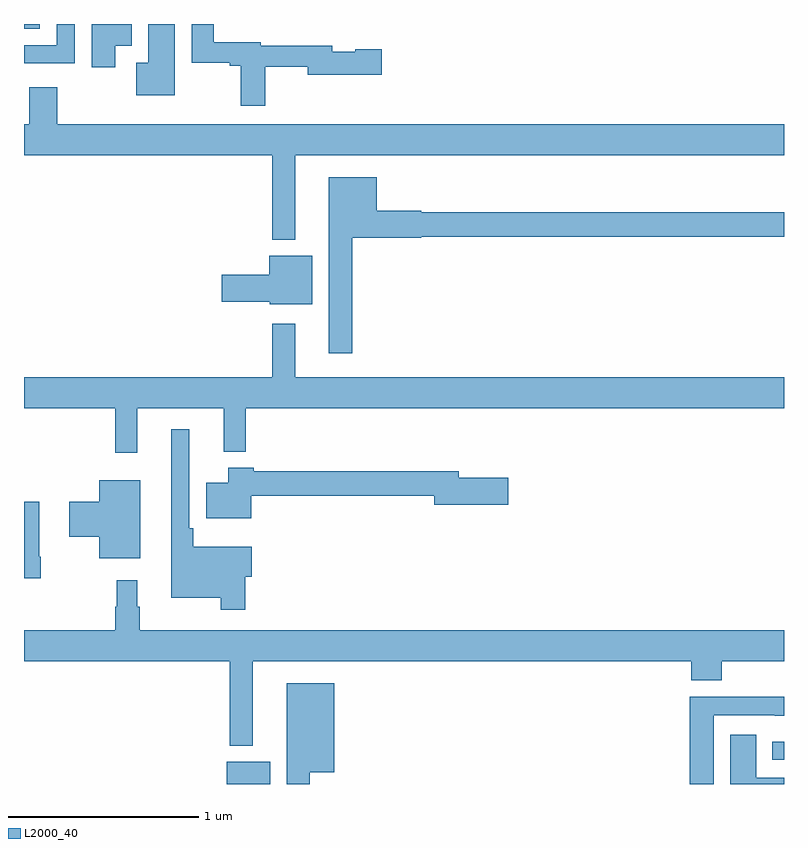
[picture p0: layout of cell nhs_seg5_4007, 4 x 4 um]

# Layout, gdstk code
import gdstk
lib = gdstk.Library(unit=1e-6, precision=1e-09)
def R(c, l, rs):  # rectangles x0, y0, x1, y1
    for r in rs: c.add(gdstk.rectangle(r[:2], r[2:], *l))
def P(c, l, *ps):  # polygons
    for p in ps: c.add(gdstk.Polygon(p, *l))
L2000_40 = (2000, 40)

nhs_seg5_4007 = lib.new_cell('nhs_seg5_4007')
R(nhs_seg5_4007, L2000_40, [(348.068,838.799,348.295,838.915), (350.939,838.926,351,839.022), (347,842.773,347.083,842.799)])
P(nhs_seg5_4007, L2000_40, [(347.794,842.799),(347.654,842.799),(347.654,842.596),(347.591,842.596),(347.591,842.423),(347.794,842.423)],
  [(348.269,842.574),(348.494,842.574),(348.494,842.531),(348.883,842.531),(348.883,842.666),(348.744,842.666),(348.744,842.653),(348.622,842.653),(348.622,842.684),(348.246,842.684),(348.246,842.704),(347.999,842.704),(347.999,842.799),(347.883,842.799),(347.883,842.595),(348.084,842.595),(348.084,842.578),(348.141,842.578),(348.141,842.37),(348.269,842.37)],
  [(347.268,842.799),(347.172,842.799),(347.172,842.688),(347,842.688),(347,842.592),(347.268,842.592)],
  [(347.479,842.684),(347.566,842.684),(347.566,842.799),(347.357,842.799),(347.357,842.571),(347.479,842.571)],
  [(348.427,842.108),(351,842.108),(351,842.272),(347.175,842.272),(347.175,842.467),(347.027,842.467),(347.027,842.272),(347,842.272),(347,842.108),(348.306,842.108),(348.306,841.664),(348.427,841.664)],
  [(348.727,841.673),(349.092,841.673),(349.092,841.678),(351,841.678),(351,841.807),(349.092,841.807),(349.092,841.815),(348.856,841.815),(348.856,841.993),(348.605,841.993),(348.605,841.065),(348.727,841.065)],
  [(348.517,841.579),(348.29,841.579),(348.29,841.478),(348.042,841.478),(348.042,841.336),(348.294,841.336),(348.294,841.325),(348.517,841.325)],
  [(347,840.776),(347.479,840.776),(347.479,840.543),(347.597,840.543),(347.597,840.776),(348.05,840.776),(348.05,840.548),(348.167,840.548),(348.167,840.776),(351,840.776),(351,840.94),(348.427,840.94),(348.427,841.222),(348.306,841.222),(348.306,840.94),(347,840.94)],
  [(348.164,839.891),(348.199,839.891),(348.199,840.049),(347.891,840.049),(347.891,840.145),(347.871,840.145),(347.871,840.667),(347.774,840.667),(347.774,839.78),(348.036,839.78),(348.036,839.715),(348.164,839.715)],
  [(348.196,840.316),(349.16,840.316),(349.16,840.269),(349.549,840.269),(349.549,840.411),(349.288,840.411),(349.288,840.445),(348.209,840.445),(348.209,840.463),(348.074,840.463),(348.074,840.385),(347.96,840.385),(347.96,840.197),(348.196,840.197)],
  [(347.611,840.397),(347.396,840.397),(347.396,840.284),(347.238,840.284),(347.238,840.101),(347.396,840.101),(347.396,839.987),(347.611,839.987)],
  [(347.088,839.995),(347.08,839.995),(347.08,840.284),(347,840.284),(347,839.883),(347.088,839.883)],
  [(348.205,839.444),(350.513,839.444),(350.513,839.345),(350.673,839.345),(350.673,839.444),(351,839.444),(351,839.608),(347.608,839.608),(347.608,839.732),(347.596,839.732),(347.596,839.872),(347.487,839.872),(347.487,839.732),(347.479,839.732),(347.479,839.608),(347,839.608),(347,839.444),(348.084,839.444),(348.084,839),(348.205,839)],
  [(348.505,838.862),(348.634,838.862),(348.634,839.329),(348.383,839.329),(348.383,838.799),(348.505,838.799)],
  [(350.629,839.16),(350.95,839.16),(350.95,839.159),(351,839.159),(351,839.258),(350.504,839.258),(350.504,838.799),(350.629,838.799)],
  [(351,838.833),(350.854,838.833),(350.854,839.059),(350.717,839.059),(350.717,838.799),(351,838.799)])

lib.write_gds('nhs_seg5_4007.gds')
